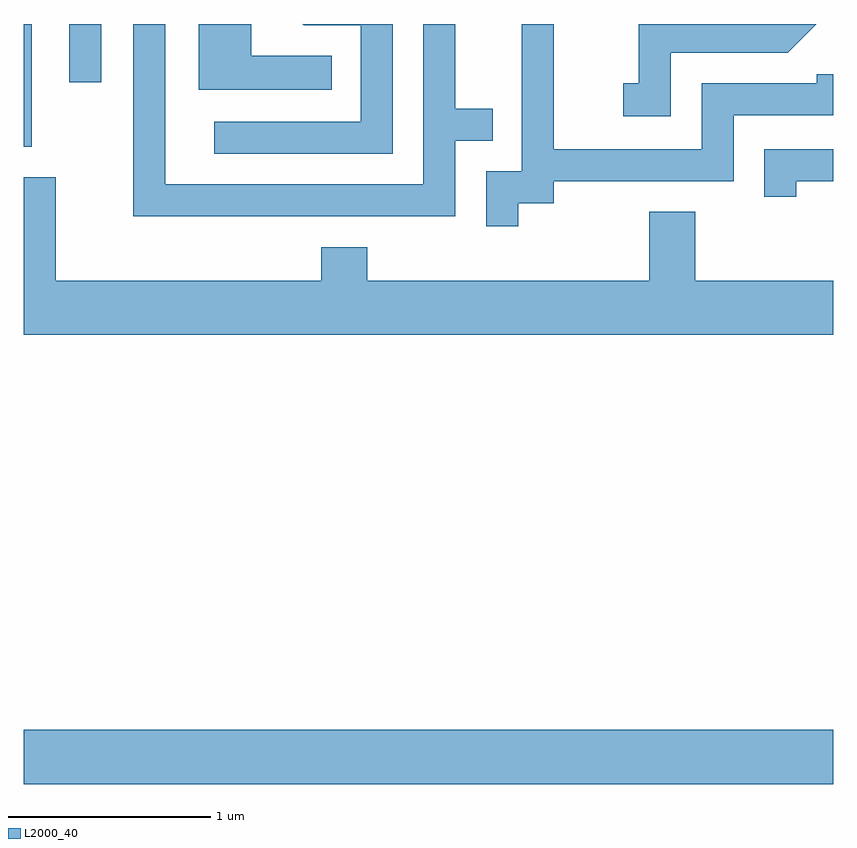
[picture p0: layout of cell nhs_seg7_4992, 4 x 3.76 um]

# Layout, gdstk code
import gdstk
lib = gdstk.Library(unit=1e-6, precision=1e-09)
def R(c, l, rs):  # rectangles x0, y0, x1, y1
    for r in rs: c.add(gdstk.rectangle(r[:2], r[2:], *l))
def P(c, l, *ps):  # polygons
    for p in ps: c.add(gdstk.Polygon(p, *l))
L2000_40 = (2000, 40)

nhs_seg7_4992 = lib.new_cell('nhs_seg7_4992')
R(nhs_seg7_4992, L2000_40, [(337.611,1756.496,341.611,1756.764), (337.611,1759.646,337.649,1760.252), (337.836,1759.963,337.994,1760.252)])
P(nhs_seg7_4992, L2000_40, [(339.744,1759.676),(339.928,1759.676),(339.928,1759.834),(339.744,1759.834),(339.744,1760.252),(339.586,1760.252),(339.586,1759.459),(338.309,1759.459),(338.309,1760.252),(338.151,1760.252),(338.151,1759.301),(339.744,1759.301)],
  [(339.133,1760.094),(338.734,1760.094),(338.734,1760.252),(338.476,1760.252),(338.476,1759.926),(339.133,1759.926)],
  [(340.054,1759.366),(340.229,1759.366),(340.229,1759.476),(341.119,1759.476),(341.119,1759.801),(341.611,1759.801),(341.611,1760.004),(341.531,1760.004),(341.531,1759.959),(340.961,1759.959),(340.961,1759.634),(340.229,1759.634),(340.229,1760.252),(340.071,1760.252),(340.071,1759.524),(339.896,1759.524),(339.896,1759.253),(340.054,1759.253)],
  [(340.809,1760.111),(341.387,1760.111),(341.528,1760.252),(340.651,1760.252),(340.651,1759.959),(340.573,1759.959),(340.573,1759.796),(340.809,1759.796)],
  [(339.434,1760.252),(338.988,1760.252),(338.994,1760.246),(339.276,1760.246),(339.276,1759.769),(338.553,1759.769),(338.553,1759.611),(339.434,1759.611)],
  [(341.429,1759.476),(341.611,1759.476),(341.611,1759.634),(341.271,1759.634),(341.271,1759.398),(341.429,1759.398)],
  [(341.611,1758.984),(340.929,1758.984),(340.929,1759.324),(340.701,1759.324),(340.701,1758.984),(339.309,1758.984),(339.309,1759.149),(339.081,1759.149),(339.081,1758.984),(337.769,1758.984),(337.769,1759.494),(337.611,1759.494),(337.611,1758.716),(341.611,1758.716)])

lib.write_gds('nhs_seg7_4992.gds')
